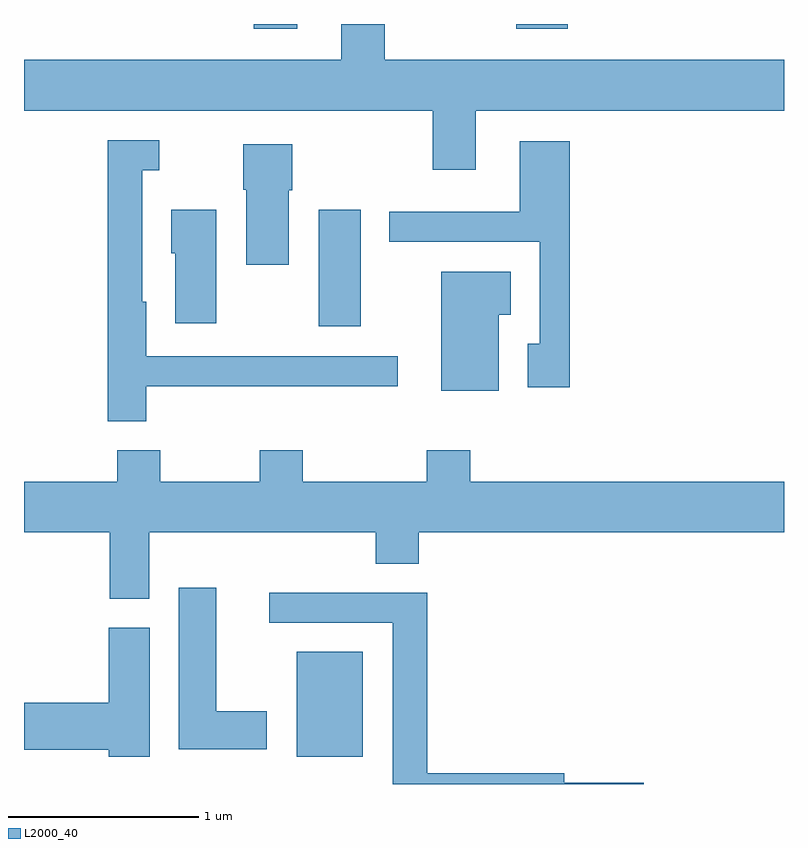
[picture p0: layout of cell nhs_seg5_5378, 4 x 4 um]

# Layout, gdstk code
import gdstk
lib = gdstk.Library(unit=1e-6, precision=1e-09)
def R(c, l, rs):  # rectangles x0, y0, x1, y1
    for r in rs: c.add(gdstk.rectangle(r[:2], r[2:], *l))
def P(c, l, *ps):  # polygons
    for p in ps: c.add(gdstk.Polygon(p, *l))
L2000_40 = (2000, 40)

nhs_seg5_5378 = lib.new_cell('nhs_seg5_5378')
R(nhs_seg5_5378, L2000_40, [(345.046,1522.216,345.394,1522.769), (345.161,1524.481,345.384,1525.094), (344.821,1526.046,345.049,1526.072), (346.201,1526.046,346.474,1526.072)])
P(nhs_seg5_5378, L2000_40, [(345.989,1525.616),(347.611,1525.616),(347.611,1525.884),(345.509,1525.884),(345.509,1526.072),(345.281,1526.072),(345.281,1525.884),(343.611,1525.884),(343.611,1525.616),(345.761,1525.616),(345.761,1525.306),(345.989,1525.306)],
  [(344.254,1524.166),(345.578,1524.166),(345.578,1524.324),(344.254,1524.324),(344.254,1524.609),(344.234,1524.609),(344.234,1525.301),(344.323,1525.301),(344.323,1525.459),(344.051,1525.459),(344.051,1523.981),(344.254,1523.981)],
  [(346.484,1525.454),(346.221,1525.454),(346.221,1525.084),(345.533,1525.084),(345.533,1524.926),(346.326,1524.926),(346.326,1524.389),(346.261,1524.389),(346.261,1524.161),(346.484,1524.161)],
  [(345.004,1525.196),(345.024,1525.196),(345.024,1525.439),(344.766,1525.439),(344.766,1525.2),(344.781,1525.2),(344.781,1524.806),(345.004,1524.806)],
  [(344.624,1525.094),(344.386,1525.094),(344.386,1524.866),(344.406,1524.866),(344.406,1524.496),(344.624,1524.496)],
  [(346.109,1524.541),(346.174,1524.541),(346.174,1524.769),(345.806,1524.769),(345.806,1524.141),(346.109,1524.141)],
  [(345.461,1523.231),(345.689,1523.231),(345.689,1523.396),(347.611,1523.396),(347.611,1523.664),(345.959,1523.664),(345.959,1523.829),(345.731,1523.829),(345.731,1523.664),(345.079,1523.664),(345.079,1523.829),(344.851,1523.829),(344.851,1523.664),(344.329,1523.664),(344.329,1523.829),(344.101,1523.829),(344.101,1523.664),(343.611,1523.664),(343.611,1523.396),(344.061,1523.396),(344.061,1523.046),(344.269,1523.046),(344.269,1523.396),(345.461,1523.396)],
  [(344.889,1522.454),(344.624,1522.454),(344.624,1523.104),(344.426,1523.104),(344.426,1522.256),(344.889,1522.256)],
  [(346.874,1522.079),(346.454,1522.079),(346.454,1522.129),(345.734,1522.129),(345.734,1523.079),(344.903,1523.079),(344.903,1522.921),(345.551,1522.921),(345.551,1522.072),(346.874,1522.072)],
  [(344.274,1522.894),(344.056,1522.894),(344.056,1522.499),(343.611,1522.499),(343.611,1522.251),(344.056,1522.251),(344.056,1522.216),(344.274,1522.216)])

lib.write_gds('nhs_seg5_5378.gds')
